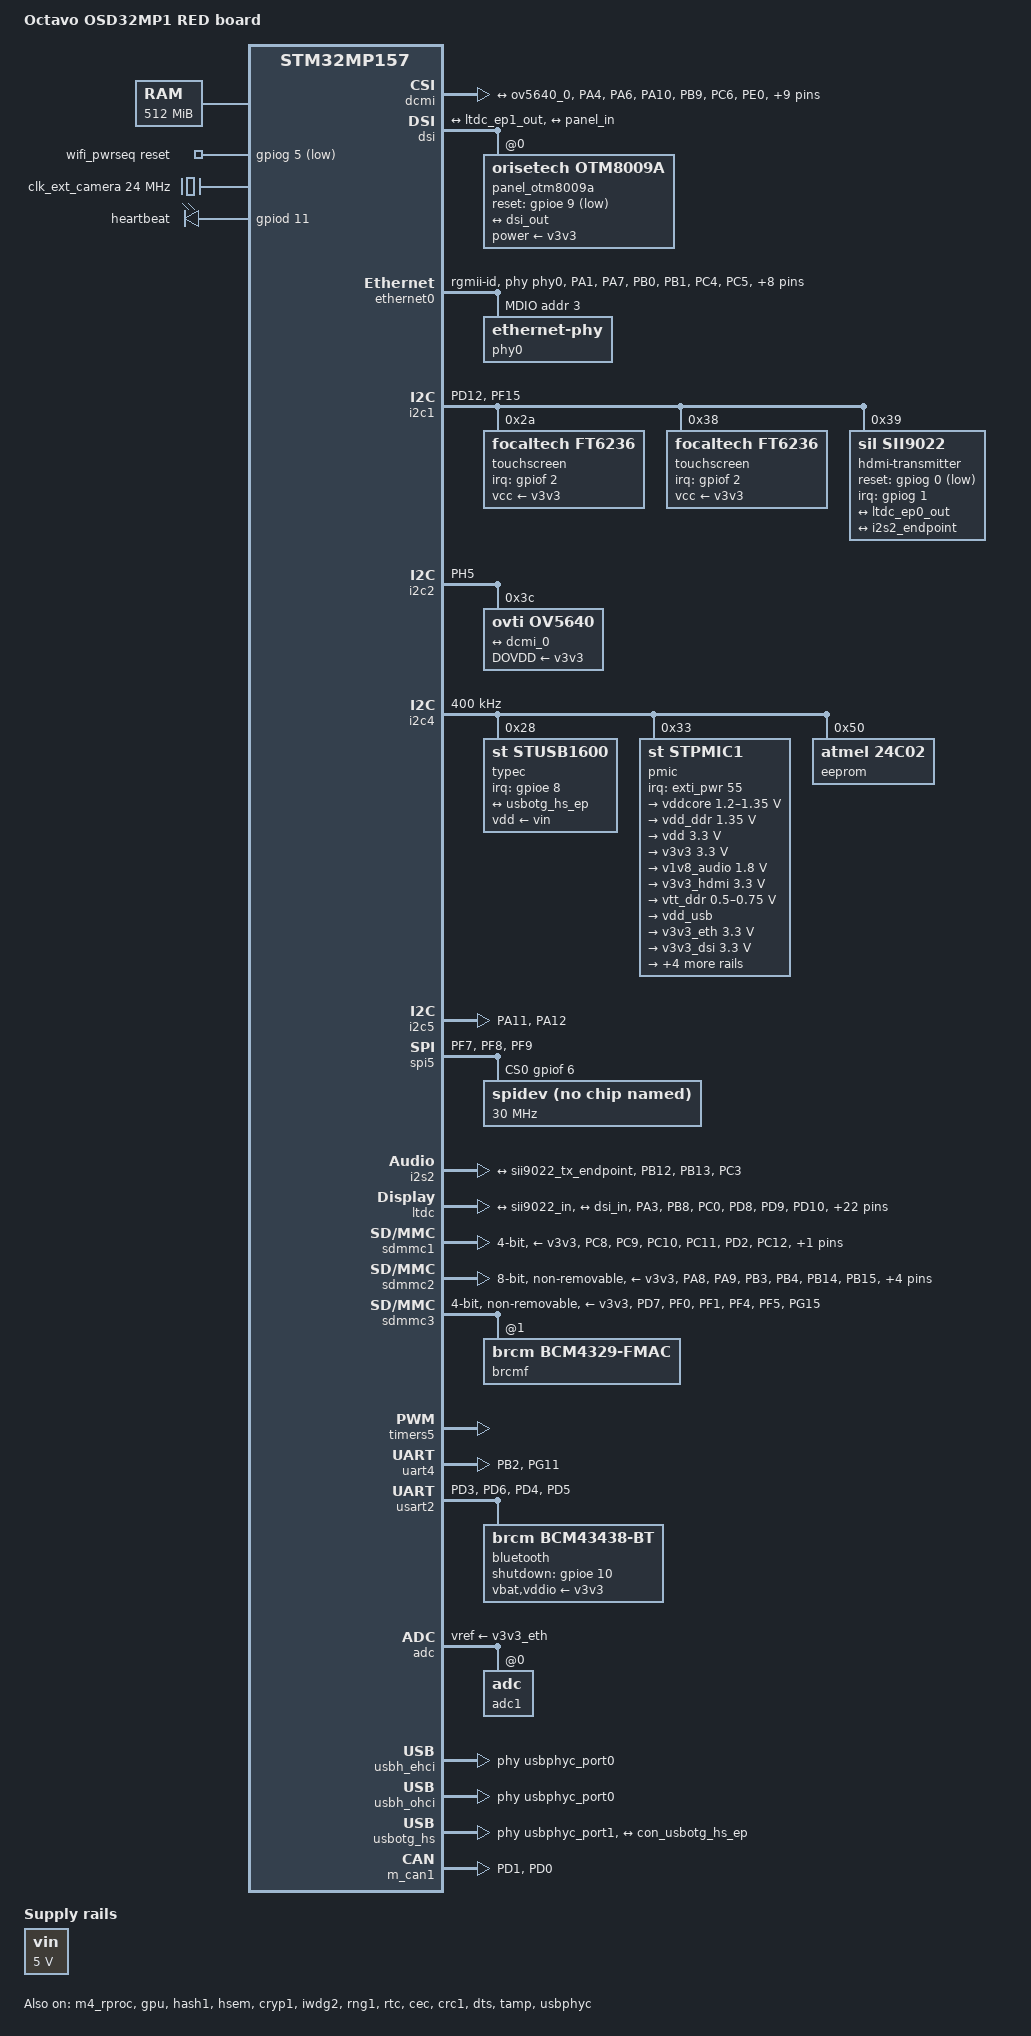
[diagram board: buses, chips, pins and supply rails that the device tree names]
/* SPDX-License-Identifier: (GPL-2.0+ OR BSD-3-Clause) */
/*
 * Copyright (C) Octavo Systems 2021 - All Rights Reserved
 * Author: Neeraj Dantu <dantuguf14105@gmail.com> for Octavo Systems
 */

/dts-v1/;

#include <dt-bindings/pinctrl/stm32-pinfunc.h>
#include "stm32mp157.dtsi"
#include "stm32mp15xc.dtsi"
#include "stm32mp15xxac-pinctrl.dtsi"
#include "stm32mp15-m4-srm.dtsi"
#include <dt-bindings/mfd/st,stpmic1.h>
#include <dt-bindings/gpio/gpio.h>
#include <dt-bindings/rtc/rtc-stm32.h>

/ {
	model = "Octavo OSD32MP1 RED board";
	compatible = "octavo,stm32mp157c-osd32mp1-red", "st,stm32mp157";

	memory@c0000000 {
		device_type = "memory";
		reg = <0xc0000000 0x20000000>;
	};

	wifi_pwrseq: wifi-pwrseq {
		compatible = "mmc-pwrseq-simple";
		reset-gpios = <&gpiog 5 GPIO_ACTIVE_LOW>;
  	};

	clocks {
		clk_ext_camera: clk-ext-camera {
			#clock-cells = <0>;
			compatible = "fixed-clock";
			clock-frequency = <24000000>;
		};
	};

	reserved-memory {
		#address-cells = <1>;
		#size-cells = <1>;
		ranges;

		mcuram2:mcuram2@10000000{
			compatible = "shared-dma-pool";
			reg = <0x10000000 0x40000>;
			no-map;
		};

		vdev0vring0:vdev0vring0@10040000{
			compatible = "shared-dma-pool";
			reg = <0x10040000 0x1000>;
			no-map;
		};

		vdev0vring1:vdev0vring1@10041000{
			compatible = "shared-dma-pool";
			reg = <0x10041000 0x1000>;
			no-map;
		};

		vdev0buffer:vdev0buffer@10042000{
			compatible = "shared-dma-pool";
			reg = <0x10042000 0x4000>;
			no-map;
		};

		mcuram:mcuram@30000000{
			compatible = "shared-dma-pool";
			reg = <0x30000000 0x40000>;
			no-map;
		};

		retram:retram@38000000{
			compatible = "shared-dma-pool";
			reg = <0x38000000 0x10000>;
			no-map;
		};

		gpu_reserved:gpu@d4000000{
			reg = <0xd4000000 0x4000000>;
			no-map;
		};
	};


	aliases {
		ethernet0 = &ethernet0;
		serial0 = &uart4;
		serial1 = &usart3;
		serial2 = &uart7;
		serial3 = &usart2;
	};

	chosen {
		stdout-path = "serial0:115200n8";
	};

	led {
		compatible = "gpio-leds";
		blue {
			label = "heartbeat";
			gpios = <&gpiod 11 GPIO_ACTIVE_HIGH>;
			linux,default-trigger = "heartbeat";
			default-state = "off";
		};
	};

	usb_phy_tuning:usb-phy-tuning{
		st,hs-dc-level = <2>;
		st,fs-rftime-tuning;
		st,hs-rftime-reduction;
		st,hs-current-trim = <15>;
		st,hs-impedance-trim = <1>;
		st,squelch-level = <3>;
		st,hs-rx-offset = <2>;
		st,no-lsfs-sc;
	};

	vin:vin{
		compatible = "regulator-fixed";
		regulator-name = "vin";
		regulator-min-microvolt = <5000000>;
		regulator-max-microvolt = <5000000>;
		regulator-always-on;
	};

	sound {
		compatible = "audio-graph-card";
		label = "STM32MP15-DK";
		dais = <&i2s2_port>;
		status = "okay";
	};
};

&pinctrl {
	u-boot,dm-pre-reloc;
	dcmi_pins_mx: dcmi_mx-0 {
		pins {
			pinmux = <STM32_PINMUX('A', 4, AF13)>, /* DCMI_HSYNC */
					 <STM32_PINMUX('A', 6, AF13)>, /* DCMI_PIXCLK */
					 <STM32_PINMUX('A', 10, AF13)>, /* DCMI_D1 */
					 <STM32_PINMUX('B', 9, AF13)>, /* DCMI_D7 */
					 <STM32_PINMUX('C', 6, AF13)>, /* DCMI_D0 */
					 <STM32_PINMUX('E', 0, AF13)>, /* DCMI_D2 */
					 <STM32_PINMUX('E', 1, AF13)>, /* DCMI_D3 */
					 <STM32_PINMUX('E', 4, AF13)>, /* DCMI_D4 */
					 <STM32_PINMUX('E', 13, AF13)>, /* DCMI_D6 */
					 <STM32_PINMUX('G', 9, AF13)>, /* DCMI_VSYNC */
					 <STM32_PINMUX('H', 6, AF13)>, /* DCMI_D8 */
					 <STM32_PINMUX('H', 7, AF13)>, /* DCMI_D9 */
					 <STM32_PINMUX('H', 15, AF13)>, /* DCMI_D11 */
					 <STM32_PINMUX('I', 3, AF13)>, /* DCMI_D10 */
					 <STM32_PINMUX('I', 4, AF13)>; /* DCMI_D5 */
			bias-disable;
		};
	};

	dcmi_sleep_pins_mx: dcmi_sleep_mx-0 {
		pins {
			pinmux = <STM32_PINMUX('A', 4, ANALOG)>, /* DCMI_HSYNC */
					 <STM32_PINMUX('A', 6, ANALOG)>, /* DCMI_PIXCLK */
					 <STM32_PINMUX('A', 10, ANALOG)>, /* DCMI_D1 */
					 <STM32_PINMUX('B', 9, ANALOG)>, /* DCMI_D7 */
					 <STM32_PINMUX('C', 6, ANALOG)>, /* DCMI_D0 */
					 <STM32_PINMUX('E', 0, ANALOG)>, /* DCMI_D2 */
					 <STM32_PINMUX('E', 1, ANALOG)>, /* DCMI_D3 */
					 <STM32_PINMUX('E', 4, ANALOG)>, /* DCMI_D4 */
					 <STM32_PINMUX('E', 13, ANALOG)>, /* DCMI_D6 */
					 <STM32_PINMUX('G', 9, ANALOG)>, /* DCMI_VSYNC */
					 <STM32_PINMUX('H', 6, ANALOG)>, /* DCMI_D8 */
					 <STM32_PINMUX('H', 7, ANALOG)>, /* DCMI_D9 */
					 <STM32_PINMUX('H', 15, ANALOG)>, /* DCMI_D11 */
					 <STM32_PINMUX('I', 3, ANALOG)>, /* DCMI_D10 */
					 <STM32_PINMUX('I', 4, ANALOG)>; /* DCMI_D5 */
		};
	};

	eth1_pins_mx: eth1_mx-0 {
		pins1 {
			pinmux = <STM32_PINMUX('A', 1, AF11)>, /* ETH1_RX_CLK */
					 <STM32_PINMUX('A', 7, AF11)>, /* ETH1_RX_CTL */
					 <STM32_PINMUX('B', 0, AF11)>, /* ETH1_RXD2 */
					 <STM32_PINMUX('B', 1, AF11)>, /* ETH1_RXD3 */
					 <STM32_PINMUX('C', 4, AF11)>, /* ETH1_RXD0 */
					 <STM32_PINMUX('C', 5, AF11)>; /* ETH1_RXD1 */
			bias-disable;
		};
		pins2 {
			pinmux = <STM32_PINMUX('A', 2, AF11)>; /* ETH1_MDIO */
			bias-disable;
			drive-push-pull;
			slew-rate = <0>;
		};
		pins3 {
			pinmux = <STM32_PINMUX('B', 11, AF11)>, /* ETH1_TX_CTL */
					 <STM32_PINMUX('C', 1, AF11)>, /* ETH1_MDC */
					 <STM32_PINMUX('C', 2, AF11)>, /* ETH1_TXD2 */
					 <STM32_PINMUX('E', 2, AF11)>, /* ETH1_TXD3 */
					 <STM32_PINMUX('G', 4, AF11)>, /* ETH1_GTX_CLK */
					 <STM32_PINMUX('G', 13, AF11)>, /* ETH1_TXD0 */
					 <STM32_PINMUX('G', 14, AF11)>; /* ETH1_TXD1 */
			bias-disable;
			drive-push-pull;
			slew-rate = <2>;
		};
	};

	eth1_sleep_pins_mx: eth1_sleep_mx-0 {
		pins {
			pinmux = <STM32_PINMUX('A', 1, ANALOG)>, /* ETH1_RX_CLK */
					 <STM32_PINMUX('A', 2, ANALOG)>, /* ETH1_MDIO */
					 <STM32_PINMUX('A', 7, ANALOG)>, /* ETH1_RX_CTL */
					 <STM32_PINMUX('B', 0, ANALOG)>, /* ETH1_RXD2 */
					 <STM32_PINMUX('B', 1, ANALOG)>, /* ETH1_RXD3 */
					 <STM32_PINMUX('B', 11, ANALOG)>, /* ETH1_TX_CTL */
					 <STM32_PINMUX('C', 1, ANALOG)>, /* ETH1_MDC */
					 <STM32_PINMUX('C', 2, ANALOG)>, /* ETH1_TXD2 */
					 <STM32_PINMUX('C', 4, ANALOG)>, /* ETH1_RXD0 */
					 <STM32_PINMUX('C', 5, ANALOG)>, /* ETH1_RXD1 */
					 <STM32_PINMUX('E', 2, ANALOG)>, /* ETH1_TXD3 */
					 <STM32_PINMUX('G', 4, ANALOG)>, /* ETH1_GTX_CLK */
					 <STM32_PINMUX('G', 13, ANALOG)>, /* ETH1_TXD0 */
					 <STM32_PINMUX('G', 14, ANALOG)>; /* ETH1_TXD1 */
		};
	};

	i2c1_pins_mx: i2c1_mx-0 {
		pins {
			pinmux = <STM32_PINMUX('D', 12, AF5)>, /* I2C1_SCL */
					 <STM32_PINMUX('F', 15, AF5)>; /* I2C1_SDA */
			bias-disable;
			drive-open-drain;
			slew-rate = <0>;
		};
	};

	i2c1_sleep_pins_mx: i2c1_sleep_mx-0 {
		pins {
			pinmux = <STM32_PINMUX('D', 12, ANALOG)>, /* I2C1_SCL */
					 <STM32_PINMUX('F', 15, ANALOG)>; /* I2C1_SDA */
		};
	};

	i2c2_pins_mx: i2c2_mx-0 {
		pins {
			pinmux = <STM32_PINMUX('H', 5, AF4)>; /* I2C2_SDA */
			bias-disable;
			drive-open-drain;
			slew-rate = <0>;
		};
	};

	i2c2_sleep_pins_mx: i2c2_sleep_mx-0 {
		pins {
			pinmux = <STM32_PINMUX('H', 5, ANALOG)>; /* I2C2_SDA */
		};
	};

	i2c5_pins_mx: i2c5_mx-0 {
		pins {
			pinmux = <STM32_PINMUX('A', 11, AF4)>, /* I2C5_SCL */
					 <STM32_PINMUX('A', 12, AF4)>; /* I2C5_SDA */
			bias-disable;
			drive-open-drain;
			slew-rate = <0>;
		};
	};

	i2c5_sleep_pins_mx: i2c5_sleep_mx-0 {
		pins {
			pinmux = <STM32_PINMUX('A', 11, ANALOG)>, /* I2C5_SCL */
					 <STM32_PINMUX('A', 12, ANALOG)>; /* I2C5_SDA */
		};
	};

	i2s2_pins_mx: i2s2_mx-0 {
		pins {
			pinmux = <STM32_PINMUX('B', 12, AF5)>, /* I2S2_WS */
					 <STM32_PINMUX('B', 13, AF5)>, /* I2S2_CK */
					 <STM32_PINMUX('C', 3, AF5)>; /* I2S2_SDO */
			bias-disable;
			drive-push-pull;
			slew-rate = <1>;
		};
	};

	i2s2_sleep_pins_mx: i2s2_sleep_mx-0 {
		pins {
			pinmux = <STM32_PINMUX('B', 12, ANALOG)>, /* I2S2_WS */
					 <STM32_PINMUX('B', 13, ANALOG)>, /* I2S2_CK */
					 <STM32_PINMUX('C', 3, ANALOG)>; /* I2S2_SDO */
		};
	};

	ltdc_pins_mx: ltdc_mx-0 {
		pins1 {
			pinmux = <STM32_PINMUX('A', 3, AF14)>, /* LTDC_B5 */
					 <STM32_PINMUX('B', 8, AF14)>, /* LTDC_B6 */
					 <STM32_PINMUX('C', 0, AF14)>, /* LTDC_R5 */
					 <STM32_PINMUX('D', 8, AF14)>, /* LTDC_B7 */
					 <STM32_PINMUX('D', 9, AF14)>, /* LTDC_B0 */
					 <STM32_PINMUX('D', 10, AF14)>, /* LTDC_B3 */
					 <STM32_PINMUX('E', 6, AF14)>, /* LTDC_G1 */
					 <STM32_PINMUX('E', 12, AF14)>, /* LTDC_B4 */
					 <STM32_PINMUX('E', 14, AF13)>, /* LTDC_G0 */
					 <STM32_PINMUX('E', 15, AF14)>, /* LTDC_R7 */
					 <STM32_PINMUX('F', 10, AF14)>, /* LTDC_DE */
					 <STM32_PINMUX('G', 10, AF14)>, /* LTDC_B2 */
					 <STM32_PINMUX('G', 12, AF14)>, /* LTDC_B1 */
					 <STM32_PINMUX('H', 2, AF14)>, /* LTDC_R0 */
					 <STM32_PINMUX('H', 3, AF14)>, /* LTDC_R1 */
					 <STM32_PINMUX('H', 4, AF14)>, /* LTDC_G4 */
					 <STM32_PINMUX('H', 8, AF14)>, /* LTDC_R2 */
					 <STM32_PINMUX('H', 9, AF14)>, /* LTDC_R3 */
					 <STM32_PINMUX('H', 10, AF14)>, /* LTDC_R4 */
					 <STM32_PINMUX('H', 12, AF14)>, /* LTDC_R6 */
					 <STM32_PINMUX('H', 13, AF14)>, /* LTDC_G2 */
					 <STM32_PINMUX('H', 14, AF14)>, /* LTDC_G3 */
					 <STM32_PINMUX('I', 0, AF14)>, /* LTDC_G5 */
					 <STM32_PINMUX('I', 1, AF14)>, /* LTDC_G6 */
					 <STM32_PINMUX('I', 2, AF14)>, /* LTDC_G7 */
					 <STM32_PINMUX('I', 9, AF14)>, /* LTDC_VSYNC */
					 <STM32_PINMUX('I', 10, AF14)>; /* LTDC_HSYNC */
			bias-disable;
			drive-push-pull;
			slew-rate = <0>;
		};
		pins2 {
			pinmux = <STM32_PINMUX('G', 7, AF14)>; /* LTDC_CLK */
			bias-disable;
			drive-push-pull;
			slew-rate = <1>;
		};
	};

	ltdc_sleep_pins_mx: ltdc_sleep_mx-0 {
		pins {
			pinmux = <STM32_PINMUX('A', 3, ANALOG)>, /* LTDC_B5 */
					 <STM32_PINMUX('B', 8, ANALOG)>, /* LTDC_B6 */
					 <STM32_PINMUX('C', 0, ANALOG)>, /* LTDC_R5 */
					 <STM32_PINMUX('D', 8, ANALOG)>, /* LTDC_B7 */
					 <STM32_PINMUX('D', 9, ANALOG)>, /* LTDC_B0 */
					 <STM32_PINMUX('D', 10, ANALOG)>, /* LTDC_B3 */
					 <STM32_PINMUX('E', 6, ANALOG)>, /* LTDC_G1 */
					 <STM32_PINMUX('E', 12, ANALOG)>, /* LTDC_B4 */
					 <STM32_PINMUX('E', 14, ANALOG)>, /* LTDC_G0 */
					 <STM32_PINMUX('E', 15, ANALOG)>, /* LTDC_R7 */
					 <STM32_PINMUX('F', 10, ANALOG)>, /* LTDC_DE */
					 <STM32_PINMUX('G', 7, ANALOG)>, /* LTDC_CLK */
					 <STM32_PINMUX('G', 10, ANALOG)>, /* LTDC_B2 */
					 <STM32_PINMUX('G', 12, ANALOG)>, /* LTDC_B1 */
					 <STM32_PINMUX('H', 2, ANALOG)>, /* LTDC_R0 */
					 <STM32_PINMUX('H', 3, ANALOG)>, /* LTDC_R1 */
					 <STM32_PINMUX('H', 4, ANALOG)>, /* LTDC_G4 */
					 <STM32_PINMUX('H', 8, ANALOG)>, /* LTDC_R2 */
					 <STM32_PINMUX('H', 9, ANALOG)>, /* LTDC_R3 */
					 <STM32_PINMUX('H', 10, ANALOG)>, /* LTDC_R4 */
					 <STM32_PINMUX('H', 12, ANALOG)>, /* LTDC_R6 */
					 <STM32_PINMUX('H', 13, ANALOG)>, /* LTDC_G2 */
					 <STM32_PINMUX('H', 14, ANALOG)>, /* LTDC_G3 */
					 <STM32_PINMUX('I', 0, ANALOG)>, /* LTDC_G5 */
					 <STM32_PINMUX('I', 1, ANALOG)>, /* LTDC_G6 */
					 <STM32_PINMUX('I', 2, ANALOG)>, /* LTDC_G7 */
					 <STM32_PINMUX('I', 9, ANALOG)>, /* LTDC_VSYNC */
					 <STM32_PINMUX('I', 10, ANALOG)>; /* LTDC_HSYNC */
		};
	};

	sdmmc1_pins_mx: sdmmc1_mx-0 {
		u-boot,dm-pre-reloc;
		pins1 {
			u-boot,dm-pre-reloc;
			pinmux = <STM32_PINMUX('C', 8, AF12)>, /* SDMMC1_D0 */
					 <STM32_PINMUX('C', 9, AF12)>, /* SDMMC1_D1 */
					 <STM32_PINMUX('C', 10, AF12)>, /* SDMMC1_D2 */
					 <STM32_PINMUX('C', 11, AF12)>, /* SDMMC1_D3 */
					 <STM32_PINMUX('D', 2, AF12)>; /* SDMMC1_CMD */
			bias-disable;
			drive-push-pull;
			slew-rate = <1>;
		};
		pins2 {
			u-boot,dm-pre-reloc;
			pinmux = <STM32_PINMUX('C', 12, AF12)>; /* SDMMC1_CK */
			bias-disable;
			drive-push-pull;
			slew-rate = <2>;
		};
	};

	sdmmc1_opendrain_pins_mx: sdmmc1_opendrain_mx-0 {
		u-boot,dm-pre-reloc;
		pins1 {
			u-boot,dm-pre-reloc;
			pinmux = <STM32_PINMUX('C', 8, AF12)>, /* SDMMC1_D0 */
					 <STM32_PINMUX('C', 9, AF12)>, /* SDMMC1_D1 */
					 <STM32_PINMUX('C', 10, AF12)>, /* SDMMC1_D2 */
					 <STM32_PINMUX('C', 11, AF12)>; /* SDMMC1_D3 */
			bias-disable;
			drive-push-pull;
			slew-rate = <1>;
		};
		pins2 {
			u-boot,dm-pre-reloc;
			pinmux = <STM32_PINMUX('C', 12, AF12)>; /* SDMMC1_CK */
			bias-disable;
			drive-push-pull;
			slew-rate = <2>;
		};
		pins3 {
			u-boot,dm-pre-reloc;
			pinmux = <STM32_PINMUX('D', 2, AF12)>; /* SDMMC1_CMD */
			bias-disable;
			drive-open-drain;
			slew-rate = <1>;
		};
	};

	sdmmc1_sleep_pins_mx: sdmmc1_sleep_mx-0 {
		u-boot,dm-pre-reloc;
		pins {
			u-boot,dm-pre-reloc;
			pinmux = <STM32_PINMUX('C', 8, ANALOG)>, /* SDMMC1_D0 */
					 <STM32_PINMUX('C', 9, ANALOG)>, /* SDMMC1_D1 */
					 <STM32_PINMUX('C', 10, ANALOG)>, /* SDMMC1_D2 */
					 <STM32_PINMUX('C', 11, ANALOG)>, /* SDMMC1_D3 */
					 <STM32_PINMUX('C', 12, ANALOG)>, /* SDMMC1_CK */
					 <STM32_PINMUX('D', 2, ANALOG)>; /* SDMMC1_CMD */
		};
	};

	sdmmc2_pins_mx: sdmmc2_mx-0 {
		u-boot,dm-pre-reloc;
		pins1 {
			u-boot,dm-pre-reloc;
			pinmux = <STM32_PINMUX('A', 8, AF9)>, /* SDMMC2_D4 */
					 <STM32_PINMUX('A', 9, AF10)>, /* SDMMC2_D5 */
					 <STM32_PINMUX('B', 3, AF9)>, /* SDMMC2_D2 */
					 <STM32_PINMUX('B', 4, AF9)>, /* SDMMC2_D3 */
					 <STM32_PINMUX('B', 14, AF9)>, /* SDMMC2_D0 */
					 <STM32_PINMUX('B', 15, AF9)>, /* SDMMC2_D1 */
					 <STM32_PINMUX('C', 7, AF10)>, /* SDMMC2_D7 */
					 <STM32_PINMUX('E', 5, AF9)>, /* SDMMC2_D6 */
					 <STM32_PINMUX('G', 6, AF10)>; /* SDMMC2_CMD */
			bias-pull-up;
			drive-push-pull;
			slew-rate = <1>;
		};
		pins2 {
			u-boot,dm-pre-reloc;
			pinmux = <STM32_PINMUX('E', 3, AF9)>; /* SDMMC2_CK */
			bias-pull-up;
			drive-push-pull;
			slew-rate = <2>;
		};
	};

	sdmmc2_opendrain_pins_mx: sdmmc2_opendrain_mx-0 {
		u-boot,dm-pre-reloc;
		pins1 {
			u-boot,dm-pre-reloc;
			pinmux = <STM32_PINMUX('A', 8, AF9)>, /* SDMMC2_D4 */
					 <STM32_PINMUX('A', 9, AF10)>, /* SDMMC2_D5 */
					 <STM32_PINMUX('B', 3, AF9)>, /* SDMMC2_D2 */
					 <STM32_PINMUX('B', 4, AF9)>, /* SDMMC2_D3 */
					 <STM32_PINMUX('B', 14, AF9)>, /* SDMMC2_D0 */
					 <STM32_PINMUX('B', 15, AF9)>, /* SDMMC2_D1 */
					 <STM32_PINMUX('C', 7, AF10)>, /* SDMMC2_D7 */
					 <STM32_PINMUX('E', 5, AF9)>; /* SDMMC2_D6 */
			bias-pull-up;
			drive-push-pull;
			slew-rate = <1>;
		};
		pins2 {
			u-boot,dm-pre-reloc;
			pinmux = <STM32_PINMUX('E', 3, AF9)>; /* SDMMC2_CK */
			bias-pull-up;
			drive-push-pull;
			slew-rate = <2>;
		};
		pins3 {
			u-boot,dm-pre-reloc;
			pinmux = <STM32_PINMUX('G', 6, AF10)>; /* SDMMC2_CMD */
			bias-pull-up;
			drive-open-drain;
			slew-rate = <1>;
		};
	};

	sdmmc2_sleep_pins_mx: sdmmc2_sleep_mx-0 {
		u-boot,dm-pre-reloc;
		pins {
			u-boot,dm-pre-reloc;
			pinmux = <STM32_PINMUX('A', 8, ANALOG)>, /* SDMMC2_D4 */
					 <STM32_PINMUX('A', 9, ANALOG)>, /* SDMMC2_D5 */
					 <STM32_PINMUX('B', 3, ANALOG)>, /* SDMMC2_D2 */
					 <STM32_PINMUX('B', 4, ANALOG)>, /* SDMMC2_D3 */
					 <STM32_PINMUX('B', 14, ANALOG)>, /* SDMMC2_D0 */
					 <STM32_PINMUX('B', 15, ANALOG)>, /* SDMMC2_D1 */
					 <STM32_PINMUX('C', 7, ANALOG)>, /* SDMMC2_D7 */
					 <STM32_PINMUX('E', 3, ANALOG)>, /* SDMMC2_CK */
					 <STM32_PINMUX('E', 5, ANALOG)>, /* SDMMC2_D6 */
					 <STM32_PINMUX('G', 6, ANALOG)>; /* SDMMC2_CMD */
		};
	};

	sdmmc3_pins_mx: sdmmc3_mx-0 {
		u-boot,dm-pre-reloc;
		pins1 {
			u-boot,dm-pre-reloc;
			pinmux = <STM32_PINMUX('D', 7, AF10)>, /* SDMMC3_D3 */
					 <STM32_PINMUX('F', 0, AF9)>, /* SDMMC3_D0 */
					 <STM32_PINMUX('F', 1, AF9)>, /* SDMMC3_CMD */
					 <STM32_PINMUX('F', 4, AF9)>, /* SDMMC3_D1 */
					 <STM32_PINMUX('F', 5, AF9)>; /* SDMMC3_D2 */
			bias-disable;
			drive-push-pull;
			slew-rate = <1>;
		};
		pins2 {
			u-boot,dm-pre-reloc;
			pinmux = <STM32_PINMUX('G', 15, AF10)>; /* SDMMC3_CK */
			bias-disable;
			drive-push-pull;
			slew-rate = <2>;
		};
	};

	sdmmc3_opendrain_pins_mx: sdmmc3_opendrain_mx-0 {
		u-boot,dm-pre-reloc;
		pins1 {
			u-boot,dm-pre-reloc;
			pinmux = <STM32_PINMUX('D', 7, AF10)>, /* SDMMC3_D3 */
					 <STM32_PINMUX('F', 0, AF9)>, /* SDMMC3_D0 */
					 <STM32_PINMUX('F', 4, AF9)>, /* SDMMC3_D1 */
					 <STM32_PINMUX('F', 5, AF9)>; /* SDMMC3_D2 */
			bias-disable;
			drive-push-pull;
			slew-rate = <1>;
		};
		pins2 {
			u-boot,dm-pre-reloc;
			pinmux = <STM32_PINMUX('F', 1, AF9)>; /* SDMMC3_CMD */
			bias-disable;
			drive-open-drain;
			slew-rate = <1>;
		};
		pins3 {
			u-boot,dm-pre-reloc;
			pinmux = <STM32_PINMUX('G', 15, AF10)>; /* SDMMC3_CK */
			bias-disable;
			drive-push-pull;
			slew-rate = <2>;
		};
	};

	sdmmc3_sleep_pins_mx: sdmmc3_sleep_mx-0 {
		u-boot,dm-pre-reloc;
		pins {
			u-boot,dm-pre-reloc;
			pinmux = <STM32_PINMUX('D', 7, ANALOG)>, /* SDMMC3_D3 */
					 <STM32_PINMUX('F', 0, ANALOG)>, /* SDMMC3_D0 */
					 <STM32_PINMUX('F', 1, ANALOG)>, /* SDMMC3_CMD */
					 <STM32_PINMUX('F', 4, ANALOG)>, /* SDMMC3_D1 */
					 <STM32_PINMUX('F', 5, ANALOG)>, /* SDMMC3_D2 */
					 <STM32_PINMUX('G', 15, ANALOG)>; /* SDMMC3_CK */
		};
	};

	spi5_pins_mx: spi5_mx-0 {
		pins {
			pinmux = <STM32_PINMUX('F', 7, AF5)>, /* SPI5_SCK */
					 <STM32_PINMUX('F', 8, AF5)>, /* SPI5_MISO */
					 <STM32_PINMUX('F', 9, AF5)>; /* SPI5_MOSI */
			bias-disable;
			drive-push-pull;
			slew-rate = <1>;
		};
	};

	spi5_sleep_pins_mx: spi5_sleep_mx-0 {
		pins {
			pinmux = <STM32_PINMUX('F', 7, ANALOG)>, /* SPI5_SCK */
					 <STM32_PINMUX('F', 8, ANALOG)>, /* SPI5_MISO */
					 <STM32_PINMUX('F', 9, ANALOG)>; /* SPI5_MOSI */
		};
	};

	tim5_pwm_pins_mx: tim5_pwm_mx-0 {
		pins {
			pinmux = <STM32_PINMUX('H', 11, AF2)>; /* TIM5_CH2 */
			bias-disable;
			drive-push-pull;
			slew-rate = <0>;
		};
	};

	tim5_pwm_sleep_pins_mx: tim5_pwm_sleep_mx-0 {
		pins {
			pinmux = <STM32_PINMUX('H', 11, ANALOG)>; /* TIM5_CH2 */
		};
	};

	uart4_pins_mx: uart4_mx-0 {
		u-boot,dm-pre-reloc;
		pins1 {
			u-boot,dm-pre-reloc;
			pinmux = <STM32_PINMUX('B', 2, AF8)>; /* UART4_RX */
			bias-disable;
		};
		pins2 {
			u-boot,dm-pre-reloc;
			pinmux = <STM32_PINMUX('G', 11, AF6)>; /* UART4_TX */
			bias-disable;
			drive-push-pull;
			slew-rate = <0>;
		};
	};

	uart4_sleep_pins_mx: uart4_sleep_mx-0 {
		u-boot,dm-pre-reloc;
		pins {
			u-boot,dm-pre-reloc;
			pinmux = <STM32_PINMUX('B', 2, ANALOG)>, /* UART4_RX */
					 <STM32_PINMUX('G', 11, ANALOG)>; /* UART4_TX */
		};
	};

	usart2_pins_mx: usart2_mx-0 {
		pins1 {
			pinmux = <STM32_PINMUX('D', 3, AF7)>, /* USART2_CTS */
					 <STM32_PINMUX('D', 6, AF7)>; /* USART2_RX */
			bias-disable;
		};
		pins2 {
			pinmux = <STM32_PINMUX('D', 4, AF7)>, /* USART2_RTS */
					 <STM32_PINMUX('D', 5, AF7)>; /* USART2_TX */
			bias-disable;
			drive-push-pull;
			slew-rate = <0>;
		};
	};

	usart2_sleep_pins_mx: usart2_sleep_mx-0 {
		pins {
			pinmux = <STM32_PINMUX('D', 3, ANALOG)>, /* USART2_CTS */
					 <STM32_PINMUX('D', 4, ANALOG)>, /* USART2_RTS */
					 <STM32_PINMUX('D', 5, ANALOG)>, /* USART2_TX */
					 <STM32_PINMUX('D', 6, ANALOG)>; /* USART2_RX */
		};
	};

	cec_pins_mx: cec-1 {
		pins {
			pinmux = <STM32_PINMUX('B', 6, AF5)>;
			bias-disable;
			drive-open-drain;
			slew-rate = <0>;
		};
	};

	cec_sleep_pins_mx: cec-sleep-1 {
		pins {
			pinmux = <STM32_PINMUX('B', 6, ANALOG)>; /* HDMI_CEC */
		};
	};

	stusb1600_pins_mx: stusb1600-0 {
		pins {
			pinmux = <STM32_PINMUX('I', 11, ANALOG)>;
			bias-pull-up;
		};
	};

	m_can1_pins_mx: m_can1_sleep_mx-0 {
		pins1 {
			pinmux = <STM32_PINMUX('D', 1, AF9)>; /* CAN1_TX */
			slew-rate = <0>;
			drive-push-pull;
			bias-disable;
		};
		pins2 {
			pinmux = <STM32_PINMUX('D', 0, AF9)>; /* CAN1_RX */
			bias-disable;
		};
	};

	m_can1_sleep_pins_mx: m_can1_sleep-0 {
		pins {
			pinmux = <STM32_PINMUX('D', 1, ANALOG)>, /* CAN1_TX */
				 <STM32_PINMUX('D', 0, ANALOG)>; /* CAN1_RX */
		};
	};

};

&pinctrl_z {
	u-boot,dm-pre-reloc;

	i2c2_pins_z_mx: i2c2_mx-0 {
		pins {
			pinmux = <STM32_PINMUX('Z', 6, AF3)>; /* I2C2_SCL */
			bias-disable;
			drive-open-drain;
			slew-rate = <0>;
		};
	};

	i2c2_sleep_pins_z_mx: i2c2_sleep_mx-0 {
		pins {
			pinmux = <STM32_PINMUX('Z', 6, ANALOG)>; /* I2C2_SCL */
		};
	};

	i2c4_pins_z_mx: i2c4_mx-0 {
		u-boot,dm-pre-reloc;
		pins {
			u-boot,dm-pre-reloc;
			pinmux = <STM32_PINMUX('Z', 4, AF6)>, /* I2C4_SCL */
					 <STM32_PINMUX('Z', 5, AF6)>; /* I2C4_SDA */
			bias-disable;
			drive-open-drain;
			slew-rate = <0>;
		};
	};

	i2c4_sleep_pins_z_mx: i2c4_sleep_mx-0 {
		u-boot,dm-pre-reloc;
		pins {
			u-boot,dm-pre-reloc;
			pinmux = <STM32_PINMUX('Z', 4, ANALOG)>, /* I2C4_SCL */
					 <STM32_PINMUX('Z', 5, ANALOG)>; /* I2C4_SDA */
		};
	};
};

&m4_rproc{
	memory-region = <&retram>, <&mcuram>, <&mcuram2>, <&vdev0vring0>,
			<&vdev0vring1>, <&vdev0buffer>;
	mboxes = <&ipcc 0>, <&ipcc 1>, <&ipcc 2>;
	mbox-names = "vq0", "vq1", "shutdown";
	interrupt-parent = <&exti>;
	interrupts = <68 1>;
	wakeup-source;
	status = "okay";
};

&dcmi{
	pinctrl-names = "default", "sleep";
	pinctrl-0 = <&dcmi_pins_mx>;
	pinctrl-1 = <&dcmi_sleep_pins_mx>;
	status = "okay";

	port {
		dcmi_0: endpoint {
			remote-endpoint = <&ov5640_0>;
			bus-width = <8>;
			hsync-active = <0>;
			vsync-active = <0>;
			pclk-sample = <1>;
			pclk-max-frequency = <77000000>;
		};
	};
};

&dsi{
	status = "okay";

	ports {
		port@0 {
			reg = <0>;
			dsi_in: endpoint {
				remote-endpoint = <&ltdc_ep1_out>;
			};
		};

		port@1 {
			reg = <1>;
			dsi_out: endpoint {
				remote-endpoint = <&panel_in>;
			};
		};
	};

	panel_otm8009a: panel-otm8009a@0 {
		compatible = "orisetech,otm8009a";
		reg = <0>;
		reset-gpios = <&gpioe 9 GPIO_ACTIVE_LOW>;
		power-supply = <&v3v3>;
		status = "okay";

		port {
			panel_in: endpoint {
				remote-endpoint = <&dsi_out>;
			};
		};
	};
};

&ethernet0{
	pinctrl-names = "default", "sleep";
	pinctrl-0 = <&eth1_pins_mx>;
	pinctrl-1 = <&eth1_sleep_pins_mx>;
	status = "okay";


	st,eth-clk-sel;  //custom
	phy-mode = "rgmii-id";
	max-speed = <1000>;
	phy-handle = <&phy0>;
	nvmem-cells = <&ethernet_mac_address>;
	nvmem-cell-names = "mac-address";

	mdio0 {
		#address-cells = <1>;
		#size-cells = <0>;
		compatible = "snps,dwmac-mdio";
		phy0: ethernet-phy@0 {
			reg = <3>;
		};
	};
};

&gpu{
	status = "okay";
	contiguous-area = <&gpu_reserved>;
};

&hash1 {
	status = "okay";
};

&hsem{
	status = "okay";
};

&cryp1{
	u-boot,dm-pre-reloc;
	status = "okay";
};

&i2c1{
	pinctrl-names = "default", "sleep";
	pinctrl-0 = <&i2c1_pins_mx>;
	pinctrl-1 = <&i2c1_sleep_pins_mx>;
	status = "okay";
	i2c-scl-rising-time-ns = <100>;
	i2c-scl-falling-time-ns = <7>;
	/delete-property/dmas;
	/delete-property/dma-names;

	touchscreen@2a {
		compatible = "focaltech,ft6236";
		reg = <0x2a>;
		interrupts = <2 2>;
		interrupt-parent = <&gpiof>;
		interrupt-controller;
		touchscreen-size-x = <480>;
		touchscreen-size-y = <800>;
		panel = <&panel_otm8009a>;
		vcc-supply = <&v3v3>;
		status = "okay";
	};
	touchscreen@38 {
		compatible = "focaltech,ft6236";
		reg = <0x38>;
		interrupts = <2 2>;
		interrupt-parent = <&gpiof>;
		interrupt-controller;
		touchscreen-size-x = <480>;
		touchscreen-size-y = <800>;
		panel = <&panel_otm8009a>;
		vcc-supply = <&v3v3>;
		status = "okay";
	};

	hdmi-transmitter@39 {
		compatible = "sil,sii9022";
		reg = <0x39>;
		reset-gpios = <&gpiog 0 GPIO_ACTIVE_LOW>;
		interrupts = <1 IRQ_TYPE_EDGE_FALLING>;
		interrupt-parent = <&gpiog>;
		#sound-dai-cells = <0>;
		status = "okay";
		ports {
			#address-cells = <1>;
			#size-cells = <0>;

			port@0 {
				reg = <0>;
				sii9022_in: endpoint {
					remote-endpoint = <&ltdc_ep0_out>;
				};
			};

			port@3 {
				reg = <3>;
				sii9022_tx_endpoint: endpoint {
					remote-endpoint = <&i2s2_endpoint>;
				};
			};
		};
	};
};

&i2c2{
	pinctrl-names = "default", "sleep";
	pinctrl-0 = <&i2c2_pins_mx &i2c2_pins_z_mx>;
	pinctrl-1 = <&i2c2_sleep_pins_mx &i2c2_sleep_pins_z_mx>;
	status = "okay";
	i2c-scl-rising-time-ns = <185>;
	i2c-scl-falling-time-ns = <20>;
	/delete-property/dmas;
	/delete-property/dma-names;

	ov5640: camera@3c {
		compatible = "ovti,ov5640";
		reg = <0x3c>;
		clocks = <&clk_ext_camera>;
		clock-names = "xclk";
		DOVDD-supply = <&v3v3>;
		//powerdown-gpios = <&stmfx_pinctrl 18 (GPIO_ACTIVE_HIGH | GPIO_PUSH_PULL)>;
		//reset-gpios = <&stmfx_pinctrl 19 (GPIO_ACTIVE_LOW | GPIO_PUSH_PULL)>;
		//powerdown-gpios = <&gpioc 3 GPIO_ACTIVE_HIGH>;  //custom
		//reset-gpios = <&gpioa 14 GPIO_ACTIVE_LOW>;  //custom
		rotation = <180>;
		status = "okay";

		port {
			ov5640_0: endpoint {
				remote-endpoint = <&dcmi_0>;
				bus-width = <8>;
				data-shift = <2>; /* lines 9:2 are used */
				hsync-active = <0>;
				vsync-active = <0>;
				pclk-sample = <1>;
				pclk-max-frequency = <77000000>;
			};
		};
	};
};

&i2c4{
	u-boot,dm-pre-reloc;
	pinctrl-names = "default", "sleep";
	pinctrl-0 = <&i2c4_pins_z_mx>;
	pinctrl-1 = <&i2c4_sleep_pins_z_mx>;
	status = "okay";
	i2c-scl-rising-time-ns = <185>;
	i2c-scl-falling-time-ns = <20>;
	clock-frequency = <400000>;
	/delete-property/ dmas;
	/delete-property/ dma-names;

	typec: stusb1600@28 {
		compatible = "st,stusb1600";
		reg = <0x28>;
		interrupt-parent = <&gpioe>;
		interrupts = <8 IRQ_TYPE_EDGE_FALLING>;
		pinctrl-0 = <&stusb1600_pins_mx>;
		pinctrl-names = "default";
		status = "okay";
		vdd-supply = <&vin>;

		typec_con: connector {
			compatible = "usb-c-connector";
			label = "USB-C";
			power-role = "dual";
			power-opmode = "default";

			port {
				con_usbotg_hs_ep: endpoint {
					remote-endpoint = <&usbotg_hs_ep>;
				};
			};
		};
	};

	pmic:stpmic@33{
		compatible = "st,stpmic1";
		reg = <0x33>;
		interrupts-extended = <&exti_pwr 55 IRQ_TYPE_EDGE_FALLING>;
		interrupt-controller;
		#interrupt-cells = <2>;
		status = "okay";

		st,main-control-register = <0x04>;
		st,vin-control-register = <0xc0>;
		st,usb-control-register = <0x20>;

		regulators{
			compatible = "st,stpmic1-regulators";
			buck1-supply = <&vin>;
			buck2-supply = <&vin>;
			buck3-supply = <&vin>;
			buck4-supply = <&vin>;
			ldo1-supply = <&v3v3>;
			ldo2-supply = <&vin>;
			ldo3-supply = <&vdd_ddr>;
			ldo4-supply = <&vin>;
			ldo5-supply = <&vin>;
			ldo6-supply = <&v3v3>;
			vref_ddr-supply = <&vin>;
			boost-supply = <&vin>;
			pwr_sw1-supply = <&bst_out>;
			pwr_sw2-supply = <&bst_out>;


			vddcore:buck1{
				regulator-name = "vddcore";
				regulator-min-microvolt = <1200000>;
				regulator-max-microvolt = <1350000>;
				regulator-always-on;
				regulator-initial-mode = <0>;
				regulator-over-current-protection;
			};

			vdd_ddr:buck2{
				regulator-name = "vdd_ddr";
				regulator-min-microvolt = <1350000>;
				regulator-max-microvolt = <1350000>;
				regulator-always-on;
				regulator-initial-mode = <0>;
				regulator-over-current-protection;
			};

			vdd:buck3{
				regulator-name = "vdd";
				regulator-min-microvolt = <3300000>;
				regulator-max-microvolt = <3300000>;
				regulator-always-on;
				st,mask-reset;
				regulator-initial-mode = <0>;
				regulator-over-current-protection;
			};

			v3v3:buck4{
				regulator-name = "v3v3";
				regulator-min-microvolt = <3300000>;
				regulator-max-microvolt = <3300000>;
				regulator-always-on;
				regulator-over-current-protection;
				regulator-initial-mode = <0>;
			};

			v1v8_audio:ldo1{
				regulator-name = "v1v8_audio";
				regulator-min-microvolt = <1800000>;
				regulator-max-microvolt = <1800000>;
				regulator-always-on;
				interrupts = <IT_CURLIM_LDO1 0>;
			};

			v3v3_hdmi:ldo2{
				regulator-name = "v3v3_hdmi";
				regulator-min-microvolt = <3300000>;
				regulator-max-microvolt = <3300000>;
				regulator-always-on;
				interrupts = <IT_CURLIM_LDO2 0>;
			};

			vtt_ddr:ldo3{
				regulator-name = "vtt_ddr";
				regulator-min-microvolt = <500000>;
				regulator-max-microvolt = <750000>;
				regulator-always-on;
				regulator-over-current-protection;
			};

			vdd_usb:ldo4{
				regulator-name = "vdd_usb";
				interrupts = <IT_CURLIM_LDO4 0>;
			};

			v3v3_eth:ldo5{
				regulator-name = "v3v3_eth";
				regulator-min-microvolt = <3300000>;
				regulator-max-microvolt = <3300000>;
				interrupts = <IT_CURLIM_LDO5 0>;
				regulator-boot-on;
			};

			v3v3_dsi:ldo6{
				regulator-name = "v3v3_dsi";
				regulator-min-microvolt = <3300000>;
				regulator-max-microvolt = <3300000>;
				regulator-always-on;
				interrupts = <IT_CURLIM_LDO6 0>;
			};

			vref_ddr:vref_ddr{
				regulator-name = "vref_ddr";
				regulator-always-on;
				regulator-over-current-protection;
			};

			bst_out:boost{
				regulator-name = "bst_out";
				interrupts = <IT_OCP_BOOST 0>;
				regulator-always-on;
			};

			vbus_otg:pwr_sw1{
				regulator-name = "vbus_otg";
				interrupts = <IT_OCP_OTG 0>;
				regulator-active-discharge;
				regulator-always-on;
			};

			vbus_sw:pwr_sw2{
				regulator-name = "vbus_sw";
				interrupts = <IT_OCP_SWOUT 0>;
				regulator-active-discharge = <1>;
				regulator-always-on;
			};
		};

		onkey{
			compatible = "st,stpmic1-onkey";
			interrupts = <IT_PONKEY_F 0>, <IT_PONKEY_R 0>;
			interrupt-names = "onkey-falling", "onkey-rising";
			power-off-time-sec = <10>;
			status = "okay";
		};

		watchdog {
			compatible = "st,stpmic1-wdt";
			status = "disabled";
		};
	};
	eeprom@50 {
		compatible = "atmel,24c02";
		reg = <0x50>;
		pagesize = <16>;
	};
};

&i2c5{
	pinctrl-names = "default", "sleep";
	pinctrl-0 = <&i2c5_pins_mx>;
	pinctrl-1 = <&i2c5_sleep_pins_mx>;
	status = "okay";

	/delete-property/dmas;
	/delete-property/dma-names;

};

&spi5 {
	pinctrl-names = "default", "sleep";
	pinctrl-0 = <&spi5_pins_mx>;
	pinctrl-1 = <&spi5_sleep_pins_mx>;
	cs-gpios = <&gpiof 6 0>;
	status = "okay";

	spidev: spidev@0 {
		compatible = "rohm,dh2228fv";
		spi-max-frequency = <30000000>;
		reg = <0>;
	};
};

&i2s2{
	clocks = <&rcc SPI2>, <&rcc SPI2_K>, <&rcc PLL3_Q>, <&rcc PLL3_R>;
	clock-names = "pclk", "i2sclk", "x8k", "x11k";
	pinctrl-names = "default", "sleep";
	pinctrl-0 = <&i2s2_pins_mx>;
	pinctrl-1 = <&i2s2_sleep_pins_mx>;
	status = "okay";

	i2s2_port: port {
		i2s2_endpoint: endpoint {
			remote-endpoint = <&sii9022_tx_endpoint>;
			format = "i2s";
			mclk-fs = <256>;
		};
	};
};

&ipcc{
	status = "okay";
};

&iwdg2{
	status = "okay";
	timeout-sec = <32>;
};

&ltdc{
	pinctrl-names = "default", "sleep";
	pinctrl-0 = <&ltdc_pins_mx>;
	pinctrl-1 = <&ltdc_sleep_pins_mx>;
	status = "okay";
	port {
		ltdc_ep0_out: endpoint@0 {
			reg = <0>;
			remote-endpoint = <&sii9022_in>;
		};

		ltdc_ep1_out: endpoint@1 {
			reg = <1>;
			remote-endpoint = <&dsi_in>;
		};
	};
};

&pwr_regulators {
	vdd-supply = <&vdd>;
	vdd_3v3_usbfs-supply = <&vdd_usb>;
};

&rcc{
	u-boot,dm-pre-reloc;
	status = "okay";
};

&rng1{
	status = "okay";
};

&rtc{
	status = "okay";
};

&cec {
	pinctrl-names = "default", "sleep";
	pinctrl-0 = <&cec_pins_mx>;
	pinctrl-1 = <&cec_sleep_pins_mx>;
	status = "okay";
};

&cpu0{
	cpu-supply = <&vddcore>;
};

&cpu1{
	cpu-supply = <&vddcore>;
};

&crc1 {
	status = "okay";
};

&dts {
	status = "okay";
};

&sdmmc1{
	u-boot,dm-pre-reloc;
	pinctrl-names = "default", "opendrain", "sleep";
	pinctrl-0 = <&sdmmc1_pins_mx>;
	pinctrl-1 = <&sdmmc1_opendrain_pins_mx>;
	pinctrl-2 = <&sdmmc1_sleep_pins_mx>;
	status = "okay";

	cd-gpios = <&gpioe 7 (GPIO_ACTIVE_LOW | GPIO_PULL_UP)>;
	disable-wp;
	st,neg-edge;
	bus-width = <4>;
	vmmc-supply = <&v3v3>;
};

&sdmmc2{
	u-boot,dm-pre-reloc;
	pinctrl-names = "default", "opendrain", "sleep";
	pinctrl-0 = <&sdmmc2_pins_mx>;
	pinctrl-1 = <&sdmmc2_opendrain_pins_mx>;
	pinctrl-2 = <&sdmmc2_sleep_pins_mx>;
	status = "okay";
  	non-removable;
	no-sd;
	no-sdio;
	st,neg-edge;
	bus-width = <8>;
	vmmc-supply = <&v3v3>;
	vqmmc-supply = <&v3v3>;
	mmc-ddr-3_3v;
};

&sdmmc3{
	pinctrl-names = "default", "opendrain", "sleep";
	pinctrl-0 = <&sdmmc3_pins_mx>;
	pinctrl-1 = <&sdmmc3_opendrain_pins_mx>;
	pinctrl-2 = <&sdmmc3_sleep_pins_mx>;
	arm,primecell-periphid = <0x10153180>;
  	non-removable;
	st,neg-edge;
	bus-width = <4>;
	vmmc-supply = <&v3v3>;
	mmc-pwrseq = <&wifi_pwrseq>;
	#address-cells = <1>;
	#size-cells = <0>;
	keep-power-in-suspend;
	status = "okay";

	brcmf: bcrmf@1 {
		reg = <1>;
		compatible = "brcm,bcm4329-fmac";
	};
};

&tamp{
	status = "okay";
};

&timers5 {
	/delete-property/dmas;
	/delete-property/dma-names;
	status = "okay";
	pwm {
		pinctrl-0 = <&tim5_pwm_pins_mx>;
		pinctrl-1 = <&tim5_pwm_sleep_pins_mx>;
		pinctrl-names = "default", "sleep";
		status = "okay";
	};
	timer@4 {
		status = "okay";
	};
};

&uart4{
	u-boot,dm-pre-reloc;
	pinctrl-names = "default", "sleep";
	pinctrl-0 = <&uart4_pins_mx>;
	pinctrl-1 = <&uart4_sleep_pins_mx>;
	/delete-property/dmas;
	/delete-property/dma-names;
	status = "okay";
};

&usart2{
	pinctrl-names = "default", "sleep";
	pinctrl-0 = <&usart2_pins_mx>;
	pinctrl-1 = <&usart2_sleep_pins_mx>;
	uart-has-rtscts;
	status = "okay";

	bluetooth {
		shutdown-gpios = <&gpioe 10 GPIO_ACTIVE_HIGH>;
		compatible = "brcm,bcm43438-bt";
		max-speed = <3000000>;
		vbat-supply = <&v3v3>;
		vddio-supply = <&v3v3>;
	};
};

&sram {
	dma_pool: dma_pool@0 {
		reg = <0x50000 0x10000>;
		pool;
	};
};

&dma1 {
	sram = <&dma_pool>;
};

&dma2 {
	sram = <&dma_pool>;
};

&adc {
	vdd-supply = <&vdd>;
	vdda-supply = <&v3v3_eth>;
	vref-supply = <&v3v3_eth>;
	status = "okay";
	adc1: adc@0 {
		st,min-sample-time-nsecs = <5000>;
		st,adc-channels = <0 1>;
		status = "okay";
	};

	adc_temp: temp {
		status = "okay";
	};
};


// WARNING: Do not try to enable DAC1 and DCMI
// This devices share the same pin PA4
/* &dac {
	pinctrl-names = "default";
	status = "okay";
	dac1: dac@1 {
		pinctrl-0 = <&dac_ch1_pins_a>;
		status = "disabled";
	};
	dac2: dac@2 {
		pinctrl-0 = <&dac_ch2_pins_a>;
		status = "okay";
	};
};*/

&usbh_ehci {
	phys = <&usbphyc_port0>;
	phy-names = "usb";
	status = "okay";
};

&usbh_ohci{
	phys = <&usbphyc_port0>;
	phy-names = "usb";
	status = "okay";
};

&usbotg_hs {
	phys = <&usbphyc_port1 0>;
	phy-names = "usb2-phy";
	usb-role-switch;
	status = "okay";

	port {
		usbotg_hs_ep: endpoint {
			remote-endpoint = <&con_usbotg_hs_ep>;
		};
	};
};

&usbphyc {
	status = "okay";
};

&usbphyc_port0 {
	phy-supply = <&vdd_usb>;
	st,phy-tuning = <&usb_phy_tuning>;
};

&usbphyc_port1 {
	phy-supply = <&vdd_usb>;
	st,phy-tuning = <&usb_phy_tuning>;
};

&m_can1 {
	pinctrl-names = "default", "sleep";
	pinctrl-0 = <&m_can1_pins_mx>;
	pinctrl-1 = <&m_can1_sleep_pins_mx>;
	status = "okay";
};
